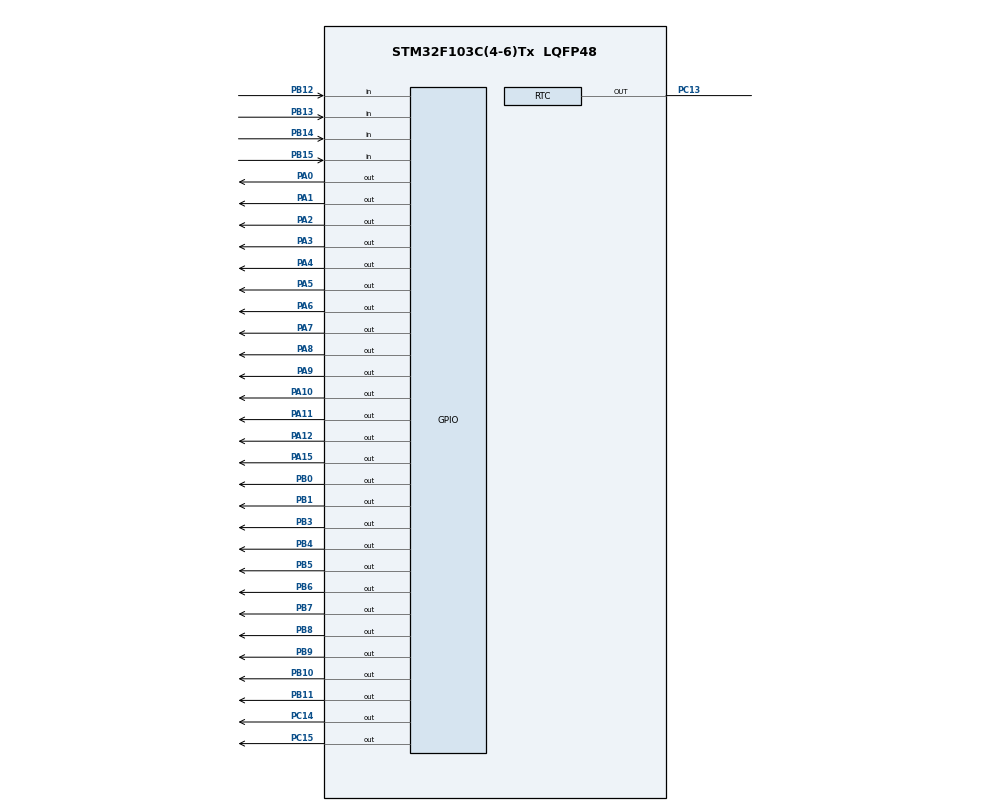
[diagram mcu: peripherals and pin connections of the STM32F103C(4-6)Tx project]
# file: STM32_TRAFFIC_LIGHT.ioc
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Mcu.Family=STM32F1
Mcu.Name=STM32F103C(4-6)Tx
Mcu.Package=LQFP48
NVIC.PriorityGroup=NVIC_PRIORITYGROUP_4
NVIC.TIM2_IRQn=true\:0\:0\:false\:false\:true\:true\:true\:true
PA0-WKUP.Signal=GPIO_Output
PA1.Signal=GPIO_Output
PA10.Signal=GPIO_Output
PA11.Signal=GPIO_Output
PA12.Signal=GPIO_Output
PA13.Mode=Serial_Wire
PA13.Signal=SYS_JTMS-SWDIO
PA14.Mode=Serial_Wire
PA14.Signal=SYS_JTCK-SWCLK
PA15.Signal=GPIO_Output
PA2.Signal=GPIO_Output
PA3.Signal=GPIO_Output
PA4.Signal=GPIO_Output
PA5.Signal=GPIO_Output
PA6.Signal=GPIO_Output
PA7.Signal=GPIO_Output
PA8.Signal=GPIO_Output
PA9.Signal=GPIO_Output
PB0.Signal=GPIO_Output
PB1.Signal=GPIO_Output
PB10.Signal=GPIO_Output
PB11.Signal=GPIO_Output
PB12.Signal=GPIO_Input
PB13.Signal=GPIO_Input
PB14.Signal=GPIO_Input
PB15.Signal=GPIO_Input
PB3.Signal=GPIO_Output
PB4.Signal=GPIO_Output
PB5.Signal=GPIO_Output
PB6.Signal=GPIO_Output
PB7.Signal=GPIO_Output
PB8.Signal=GPIO_Output
PB9.Signal=GPIO_Output
PC13-TAMPER-RTC.Mode=RTC OUT
PC13-TAMPER-RTC.Signal=RTC_OUT
PC14-OSC32_IN.Signal=GPIO_Output
PC15-OSC32_OUT.Signal=GPIO_Output
PD0-OSC_IN.Mode=HSE-External-Oscillator
PD0-OSC_IN.Signal=RCC_OSC_IN
PD1-OSC_OUT.Mode=HSE-External-Oscillator
PD1-OSC_OUT.Signal=RCC_OSC_OUT
ProjectManager.HeapSize=0x200
ProjectManager.StackSize=0x400
ProjectManager.TargetToolchain=STM32CubeIDE
RCC.APB1Freq_Value=8000000
RCC.APB2Freq_Value=8000000
RTC.Date=27
RTC.Hours=16
RTC.Hours_A-RTC\ OUT=16
RTC.Minutes=8
RTC.Minutes_A-RTC\ OUT=9
RTC.Month=RTC_MONTH_OCTOBER
RTC.Seconds=30
RTC.WeekDay=RTC_WEEKDAY_FRIDAY
RTC.Year=23
TIM2.Period=9
TIM2.Prescaler=7999
VP_RTC_VS_RTC_Activate.Mode=RTC_Enabled
VP_TIM2_VS_ClockSourceINT.Mode=Internal
board=custom

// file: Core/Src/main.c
/* USER CODE BEGIN Header */
/**
  ******************************************************************************
  * @file           : main.c
  * @brief          : Main program body
  ******************************************************************************
  * @attention
  *
  * Copyright (c) 2023 STMicroelectronics.
  * All rights reserved.
  *
  * This software is licensed under terms that can be found in the LICENSE file
  * in the root directory of this software component.
  * If no LICENSE file comes with this software, it is provided AS-IS.
  *
  ******************************************************************************
  */
/* USER CODE END Header */
#include "main.h"
#include "stdio.h"
#include "user_timer.h"
#include "user_lcd.h"
/* USER CODE BEGIN Includes */
int tt,tt1;
int second=0;
int k;
/* USER CODE END Includes */

/////////////RTC/////////////
RTC_HandleTypeDef hrtc;
char lcd_data_1[100];
char lcd_data_2[100];
///////////////////////////
TIM_HandleTypeDef htim2;

void SystemClock_Config(void);
static void MX_GPIO_Init(void);
static void MX_TIM2_Init(void);
static void MX_RTC_Init(void);
/* USER CODE BEGIN PFP */
////////////////LCD////////////////////
#define L0 0x80
#define L1 0xC0
#define L2 0x94
#define L3 0xD4
//////////////////////////////////////
unsigned char key_press(void);
unsigned char check_clm(unsigned char pin_var);
void LCD_init(void);
void LCD(uint8_t val_1, uint8_t cmd);
void LCD_str(unsigned char *str1);
void Disp_pass_key(unsigned char key_var);
/* USER CODE END PFP */
////////////////////LED7DOAN/////////////////////////////
#define	GPIO_DS_1 	    GPIOA
#define	PIN_DS_1 	    GPIO_PIN_12
#define	GPIO_SHCP_1 	GPIOA
#define	PIN_SHCP_1 	    GPIO_PIN_11
#define	GPIO_STCP_1 	GPIOA
#define	PIN_STCP_1 	    GPIO_PIN_15
#define __Get_Bit_1(__Value_, __bitN_) ((__Value_>>__bitN_) & 1)
/////////////////////LED7DOAN///////////////////////////////////
void Display_7SegLed_1(uint32_t Value_Display, uint8_t NumLed);
unsigned char var1;
int led_lr=0;
int button_lr;
int pre_lr=0;
////////////////////////////////////////////////////////
void LCD_START(){
    if(tt==6||tt1==6){
    	LCD(L1,0);
    	LCD_str("STATUS: WARNING");
    }else{
    	LCD(L1,0);
    	LCD_str("STATUS: AUTO");
    }
	   LCD(L2,0);
	   LCD_str("Enter password:");
}

///////////////////////CHECK KEYPAD///////////////
void check_key(){
	var1 = key_press();
	Disp_pass_key(var1);
	HAL_Delay(200);
}
///////////////////////RTC_REALTIME/////////////////////
void real_time(){
	RTC_TimeTypeDef sTime = {0};
	HAL_RTC_GetTime(&hrtc, &sTime, RTC_FORMAT_BIN);
    RTC_DateTypeDef DateToUpdate = {0};
	HAL_RTC_GetDate(&hrtc, &DateToUpdate, RTC_FORMAT_BIN);
	if(k==1){
    sprintf(lcd_data_1,"TIME: %02d:%02d:%02d",sTime.Hours,sTime.Minutes,sTime.Seconds);
    LCD(L1,0);
    LCD_str(lcd_data_1);

    sprintf(lcd_data_2,"DATE: %02d/%02d/%04d",DateToUpdate.Date,DateToUpdate.Month,2000+DateToUpdate.Year);
	LCD(L0,0);
	LCD_str(lcd_data_2);
	}
    if(k==0){
    	if(sTime.Hours>=22||sTime.Hours<=4){
    		tt=6;
    		tt1=6;
    		second=-1;
        }
    }
}
void real_date(){
    RTC_DateTypeDef DateToUpdate = {0};
	HAL_RTC_GetDate(&hrtc, &DateToUpdate, RTC_FORMAT_BIN);
    sprintf(lcd_data_2,"DATE: %02d/%02d/%04d",DateToUpdate.Date,DateToUpdate.Month,2000+DateToUpdate.Year);
	LCD(L0,0);
	LCD_str(lcd_data_2);
}
/* USER CODE BEGIN 0 */
void auto_light_lr(){
	   /////////////button red.//////////////
	  if(k==1){
	     button_lr = HAL_GPIO_ReadPin(GPIOB,GPIO_PIN_12); ///red
	    if(button_lr==1&&pre_lr==0){
	      if(led_lr==0){
	         tt=4;
	         tt1=5;
	         second=1;
	      }
	    }
        button_lr = HAL_GPIO_ReadPin(GPIOB,GPIO_PIN_13);///green
             if(button_lr==1&&pre_lr==0){
               if(led_lr==0){
                  tt=0;
                  tt1=0;
                  second=1;
               }
             }
        	  //////////////////////WARNING////////
        button_lr = HAL_GPIO_ReadPin(GPIOA,GPIO_PIN_14); ///red
        	 	    if(button_lr==1&&pre_lr==0){
        	 	      if(led_lr==0){
        	 	         tt=0;
        	 	         tt1=0;
        	 	         second=1;
        	 	      }
        	 	    }
           pre_lr=button_lr;
	  }

   switch(tt){
   case 0: //TT start
	tt=1;
   set_timer1(500);
   break;
   case 1: //red
      HAL_GPIO_WritePin(GPIOA, GPIO_PIN_13,1);   //RED
      HAL_GPIO_WritePin(GPIOC, GPIO_PIN_14,0);   //YELLOW
      HAL_GPIO_WritePin(GPIOC, GPIO_PIN_15,0);  //GREEN

      //het time led red
      if(timer1_flag==1){
             tt=2;
          set_timer1(300);
      }
       ///button green
   break;
   case 2: //green
      HAL_GPIO_WritePin(GPIOA, GPIO_PIN_13,0);   //RED
      HAL_GPIO_WritePin(GPIOC, GPIO_PIN_14,0);   //YELLOW
      HAL_GPIO_WritePin(GPIOC, GPIO_PIN_15,1);  //GREEN

      //het time led green
      if(timer1_flag==1){
            tt=3;
            set_timer1(200);
      }
     break;
   case 3: //yellow
      HAL_GPIO_WritePin(GPIOA, GPIO_PIN_13,0);   //RED
      HAL_GPIO_WritePin(GPIOC, GPIO_PIN_14,1);   //YELLOW
      HAL_GPIO_WritePin(GPIOC, GPIO_PIN_15,0);  //GREEN

         //het time led yellow
         if(timer1_flag==1){
            tt=1;
            set_timer1(500);
         }
   break;
    ///////////control////////////
    case 4: //control red
       HAL_GPIO_WritePin(GPIOA, GPIO_PIN_13,1);   //RED
       HAL_GPIO_WritePin(GPIOC, GPIO_PIN_14,0);   //YELLOW
       HAL_GPIO_WritePin(GPIOC, GPIO_PIN_15,0);  //GREEN
   break;
    case 5: //control green
       HAL_GPIO_WritePin(GPIOA, GPIO_PIN_13,0);   //RED
       HAL_GPIO_WritePin(GPIOC, GPIO_PIN_14,0);   //YELLOW
       HAL_GPIO_WritePin(GPIOC, GPIO_PIN_15,1);  //GREEN
   break;
    case 6:
    	  HAL_GPIO_TogglePin(GPIOC, GPIO_PIN_14);   //YELLOW
    break;
   default:
   break;
   }
}

void auto_light_ud(){

           /////////////button red.//////////////
   if(k==1){
          button_lr = HAL_GPIO_ReadPin(GPIOB,GPIO_PIN_14);
           if(button_lr==1&&pre_lr==0){
             if(led_lr==0){
                tt=5;
                tt1=4;
                second=0;
             }
           }

   ///////////////////button green//////////////////
          button_lr = HAL_GPIO_ReadPin(GPIOB,GPIO_PIN_15);
                 if(button_lr==1&&pre_lr==0){
                   if(led_lr==0){
                      tt1=0;
                      tt=0;

                   }
                 }
                 pre_lr=button_lr;
         }

   switch(tt1){
   case 0: //TT start
   tt1=2;
   set_timer2(300);
   break;
   case 1: //red
      HAL_GPIO_WritePin(GPIOB, GPIO_PIN_9,1);     //RED
      HAL_GPIO_WritePin(GPIOB, GPIO_PIN_10,0);   //YELLOW
      HAL_GPIO_WritePin(GPIOB, GPIO_PIN_11,0);  //GREEN

      //het time led red
      if(timer2_flag==1){
             tt1=2;
            set_timer2(300);
            }
   break;
   case 2: //green
      HAL_GPIO_WritePin(GPIOB, GPIO_PIN_9,0);     //RED
      HAL_GPIO_WritePin(GPIOB, GPIO_PIN_10,0);   //YELLOW
      HAL_GPIO_WritePin(GPIOB, GPIO_PIN_11,1);  //GREEN

      //het time led green
      if(timer2_flag==1){
            tt1=3;
            set_timer2(200);
      }

     break;
   case 3: //yellow
         HAL_GPIO_WritePin(GPIOB, GPIO_PIN_9,0);   //RED
         HAL_GPIO_WritePin(GPIOB, GPIO_PIN_10,1);   //YELLOW
         HAL_GPIO_WritePin(GPIOB, GPIO_PIN_11,0);  //GREEN
         //het time led yellow
         if(timer2_flag==1){
            tt1=1;
            set_timer2(500);
         }
      break;
      ////////////control//////////
     case 4: //control red
          HAL_GPIO_WritePin(GPIOB, GPIO_PIN_9,1);   //RED
          HAL_GPIO_WritePin(GPIOB, GPIO_PIN_10,0);   //YELLOW
          HAL_GPIO_WritePin(GPIOB, GPIO_PIN_11,0);  //GREEN
      break;
       case 5: //control GREEN
           HAL_GPIO_WritePin(GPIOB, GPIO_PIN_9,0);   //RED
          HAL_GPIO_WritePin(GPIOB, GPIO_PIN_10,0);   //YELLOW
          HAL_GPIO_WritePin(GPIOB, GPIO_PIN_11,1);  //GREEN
      break;
       case 6:
          HAL_GPIO_TogglePin(GPIOB, GPIO_PIN_10);   //YELLOW
      break;
    default:
    break;
   }
}
void clock(){
   if(timer3_flag==1){
       second++;
       set_timer3(100);
      if(second>5){
         second=1;
      }
   }
   Display_7SegLed_1(second,1);
}
/* USER CODE END 0 */

int main(void)
{
  /* USER CODE BEGIN 1 */
	   k=0;
  /* USER CODE END 1 */

  /* MCU Configuration--------------------------------------------------------*/

  /* Reset of all peripherals, Initializes the Flash interface and the Systick. */
  HAL_Init();

  /* Configure the system clock */
  SystemClock_Config();

  /* Initialize all configured peripherals */
  MX_GPIO_Init();
  HAL_GPIO_WritePin(GPIOB, GPIO_PIN_0|GPIO_PIN_1|GPIO_PIN_3|GPIO_PIN_4, GPIO_PIN_SET);
  HAL_GPIO_WritePin(GPIOB, GPIO_PIN_5|GPIO_PIN_6|GPIO_PIN_7|GPIO_PIN_8, GPIO_PIN_RESET);
  ////////////////TIMER////////////////////////
   MX_TIM2_Init();
   HAL_TIM_Base_Start_IT(&htim2); // Start timer ở CHE DO NGAT
   MX_RTC_Init();
  /* USER CODE BEGIN 2 */
  /* USER CODE LCD BEGIN///*/
   LCD_init();
   real_date();
   LCD_START();
   //////////////////////////////////////////
   set_timer1(3);
   set_timer2(2);
   set_timer3(1);
   Display_7SegLed_1(0,1);
   //////////////////////////////////////////
  /* Infinite loop */
  while (1)
  {
            clock();
	 	  	auto_light_lr();
	 	    auto_light_ud();
	        check_key();
	        real_time();
  }
}

void SystemClock_Config(void)
{
  RCC_OscInitTypeDef RCC_OscInitStruct = {0};
  RCC_ClkInitTypeDef RCC_ClkInitStruct = {0};
  RCC_PeriphCLKInitTypeDef PeriphClkInit = {0};

  /** Initializes the RCC Oscillators according to the specified parameters
  * in the RCC_OscInitTypeDef structure.
  */
  RCC_OscInitStruct.OscillatorType = RCC_OSCILLATORTYPE_HSI|RCC_OSCILLATORTYPE_LSI;
  RCC_OscInitStruct.HSIState = RCC_HSI_ON;
  RCC_OscInitStruct.HSICalibrationValue = RCC_HSICALIBRATION_DEFAULT;
  RCC_OscInitStruct.LSIState = RCC_LSI_ON;
  RCC_OscInitStruct.PLL.PLLState = RCC_PLL_NONE;
  if (HAL_RCC_OscConfig(&RCC_OscInitStruct) != HAL_OK)
  {
    Error_Handler();
  }

  /** Initializes the CPU, AHB and APB buses clocks
  */
  RCC_ClkInitStruct.ClockType = RCC_CLOCKTYPE_HCLK|RCC_CLOCKTYPE_SYSCLK
                              |RCC_CLOCKTYPE_PCLK1|RCC_CLOCKTYPE_PCLK2;
  RCC_ClkInitStruct.SYSCLKSource = RCC_SYSCLKSOURCE_HSI;
  RCC_ClkInitStruct.AHBCLKDivider = RCC_SYSCLK_DIV1;
  RCC_ClkInitStruct.APB1CLKDivider = RCC_HCLK_DIV1;
  RCC_ClkInitStruct.APB2CLKDivider = RCC_HCLK_DIV1;

  if (HAL_RCC_ClockConfig(&RCC_ClkInitStruct, FLASH_LATENCY_0) != HAL_OK)
  {
    Error_Handler();
  }
  PeriphClkInit.PeriphClockSelection = RCC_PERIPHCLK_RTC;
  PeriphClkInit.RTCClockSelection = RCC_RTCCLKSOURCE_LSI;
  if (HAL_RCCEx_PeriphCLKConfig(&PeriphClkInit) != HAL_OK)
  {
    Error_Handler();
  }
}

static void MX_RTC_Init(void)
{

  RTC_TimeTypeDef sTime = {0};
  RTC_DateTypeDef DateToUpdate = {0};
  RTC_AlarmTypeDef sAlarm = {0};

  /** Initialize RTC Only
  */
  hrtc.Instance = RTC;
  hrtc.Init.AsynchPrediv = RTC_AUTO_1_SECOND;
  hrtc.Init.OutPut = RTC_OUTPUTSOURCE_ALARM;
  if (HAL_RTC_Init(&hrtc) != HAL_OK)
  {
    Error_Handler();
  }

  /** Initialize RTC and set the Time and Date
  */
  sTime.Hours = 0x12;
  sTime.Minutes = 0x00;
  sTime.Seconds = 0x00;

  if (HAL_RTC_SetTime(&hrtc, &sTime, RTC_FORMAT_BCD) != HAL_OK)
  {
    Error_Handler();
  }

  DateToUpdate.WeekDay = RTC_WEEKDAY_FRIDAY;
  DateToUpdate.Month =0x10;
  DateToUpdate.Date = 0x29;
  DateToUpdate.Year = 0x23;

  if (HAL_RTC_SetDate(&hrtc, &DateToUpdate, RTC_FORMAT_BCD) != HAL_OK)
  {
    Error_Handler();
  }

  /** Enable the Alarm A*/
  sAlarm.AlarmTime.Hours = 0x15;
  sAlarm.AlarmTime.Minutes = 0x23;
  sAlarm.AlarmTime.Seconds = 0x01;
  sAlarm.Alarm = RTC_ALARM_A;
  if (HAL_RTC_SetAlarm(&hrtc, &sAlarm, RTC_FORMAT_BCD) != HAL_OK)
  {
    Error_Handler();
  }

}

static void MX_TIM2_Init(void)
{

  TIM_ClockConfigTypeDef sClockSourceConfig = {0};
  TIM_MasterConfigTypeDef sMasterConfig = {0};

  htim2.Instance = TIM2;
  htim2.Init.Prescaler = 7999;
  htim2.Init.CounterMode = TIM_COUNTERMODE_UP;
  htim2.Init.Period = 9;
  htim2.Init.ClockDivision = TIM_CLOCKDIVISION_DIV1;
  htim2.Init.AutoReloadPreload = TIM_AUTORELOAD_PRELOAD_DISABLE;
  if (HAL_TIM_Base_Init(&htim2) != HAL_OK)
  {
    Error_Handler();
  }
  sClockSourceConfig.ClockSource = TIM_CLOCKSOURCE_INTERNAL;
  if (HAL_TIM_ConfigClockSource(&htim2, &sClockSourceConfig) != HAL_OK)
  {
    Error_Handler();
  }
  sMasterConfig.MasterOutputTrigger = TIM_TRGO_RESET;
  sMasterConfig.MasterSlaveMode = TIM_MASTERSLAVEMODE_DISABLE;
  if (HAL_TIMEx_MasterConfigSynchronization(&htim2, &sMasterConfig) != HAL_OK)
  {
    Error_Handler();
  }

}

static void MX_GPIO_Init(void)
{
  GPIO_InitTypeDef GPIO_InitStruct = {0};

  /* GPIO Ports Clock Enable */
  __HAL_RCC_GPIOC_CLK_ENABLE();
  __HAL_RCC_GPIOD_CLK_ENABLE();
  __HAL_RCC_GPIOA_CLK_ENABLE();
  __HAL_RCC_GPIOB_CLK_ENABLE();

  /*Configure GPIO pin Output Level */
  HAL_GPIO_WritePin(GPIOC, GPIO_PIN_14|GPIO_PIN_15, GPIO_PIN_RESET);

  /*Configure GPIO pin Output Level */
  HAL_GPIO_WritePin(GPIOA, GPIO_PIN_0|GPIO_PIN_1|GPIO_PIN_2|GPIO_PIN_3
                          |GPIO_PIN_4|GPIO_PIN_5|GPIO_PIN_6|GPIO_PIN_7
                          |GPIO_PIN_8|GPIO_PIN_9|GPIO_PIN_10|GPIO_PIN_11
                          |GPIO_PIN_12|GPIO_PIN_15, GPIO_PIN_RESET);

  /*Configure GPIO pin Output Level */
  HAL_GPIO_WritePin(GPIOB, GPIO_PIN_0|GPIO_PIN_1|GPIO_PIN_10|GPIO_PIN_11
                          |GPIO_PIN_3|GPIO_PIN_4|GPIO_PIN_5|GPIO_PIN_6
                          |GPIO_PIN_7|GPIO_PIN_8|GPIO_PIN_9, GPIO_PIN_RESET);

  /*Configure GPIO pins : PC14 PC15 */
  GPIO_InitStruct.Pin = GPIO_PIN_14|GPIO_PIN_15;
  GPIO_InitStruct.Mode = GPIO_MODE_OUTPUT_PP;
  GPIO_InitStruct.Pull = GPIO_NOPULL;
  GPIO_InitStruct.Speed = GPIO_SPEED_FREQ_LOW;
  HAL_GPIO_Init(GPIOC, &GPIO_InitStruct);

  /*Configure GPIO pins : PA0 PA1 PA2 PA3
                           PA4 PA5 PA6 PA7
                           PA8 PA9 PA10 PA11
                           PA12 PA15 */
  GPIO_InitStruct.Pin = GPIO_PIN_0|GPIO_PIN_1|GPIO_PIN_2|GPIO_PIN_3
                          |GPIO_PIN_4|GPIO_PIN_5|GPIO_PIN_6|GPIO_PIN_7
                          |GPIO_PIN_8|GPIO_PIN_9|GPIO_PIN_10|GPIO_PIN_11
                          |GPIO_PIN_12|GPIO_PIN_13|GPIO_PIN_15;
  GPIO_InitStruct.Mode = GPIO_MODE_OUTPUT_PP;
  GPIO_InitStruct.Pull = GPIO_NOPULL;
  GPIO_InitStruct.Speed = GPIO_SPEED_FREQ_LOW;
  HAL_GPIO_Init(GPIOA, &GPIO_InitStruct);

  /*Configure GPIO pins : PB0 PB1 PB10 PB11
                           PB3 PB4 PB5 PB6
                           PB7 PB8 PB9 */
  GPIO_InitStruct.Pin = GPIO_PIN_0|GPIO_PIN_1|GPIO_PIN_10|GPIO_PIN_11
                          |GPIO_PIN_3|GPIO_PIN_4|GPIO_PIN_5|GPIO_PIN_6
                          |GPIO_PIN_7|GPIO_PIN_8|GPIO_PIN_9;
  GPIO_InitStruct.Mode = GPIO_MODE_OUTPUT_PP;
  GPIO_InitStruct.Pull = GPIO_NOPULL;
  GPIO_InitStruct.Speed = GPIO_SPEED_FREQ_LOW;
  HAL_GPIO_Init(GPIOB, &GPIO_InitStruct);

  /*Configure GPIO pins : PB12 PB13 PB14 PB15 */
  GPIO_InitStruct.Pin = GPIO_PIN_12|GPIO_PIN_13|GPIO_PIN_14|GPIO_PIN_15;
  GPIO_InitStruct.Mode = GPIO_MODE_INPUT;
  GPIO_InitStruct.Pull = GPIO_NOPULL;
  HAL_GPIO_Init(GPIOB, &GPIO_InitStruct);

  GPIO_InitStruct.Pin = GPIO_PIN_14;
  GPIO_InitStruct.Mode = GPIO_MODE_INPUT;
  GPIO_InitStruct.Pull = GPIO_NOPULL;
  HAL_GPIO_Init(GPIOA, &GPIO_InitStruct);

}

/* USER CODE BEGIN 4 */
void HAL_TIM_PeriodElapsedCallback(TIM_HandleTypeDef *htim){
    timer_run();
 }

////////////////////////LED7DOAN///////////////////////////////////////////

void Display_7SegLed_1(uint32_t Value_Display, uint8_t NumLed) {
    const unsigned char ma7doan_CA[] = {0xC0, 0xF9, 0xA4, 0xB0, 0x99, 0x92, 0x82, 0xF8, 0x80, 0x90 };
   goto Label_Display_7SegLed;
   void ShiftOut(uint8_t Value_Shift) {
      for (int i = 7; i >= 0; i--) {
         HAL_GPIO_WritePin(GPIO_DS_1, PIN_DS_1, __Get_Bit_1(Value_Shift, i));
         __NOP();
         ///////////////////tao CLK////////////////////////////
         HAL_GPIO_WritePin(GPIO_SHCP_1, PIN_SHCP_1, GPIO_PIN_RESET);
         __NOP();
         HAL_GPIO_WritePin(GPIO_SHCP_1, PIN_SHCP_1, GPIO_PIN_SET);
         __NOP();
         HAL_GPIO_WritePin(GPIO_SHCP_1, PIN_SHCP_1, GPIO_PIN_RESET);
         __NOP();
      }
   }
   Label_Display_7SegLed: //start Display_7SegLed
   for (int i = 0; i < NumLed; i++) {
      ShiftOut(ma7doan_CA[Value_Display % 10]);
      Value_Display = Value_Display / 10;
   }
   ///////////////////////tao CLK//////////////////
   HAL_GPIO_WritePin(GPIO_STCP_1, PIN_STCP_1, GPIO_PIN_RESET);
   __NOP();
   HAL_GPIO_WritePin(GPIO_STCP_1, PIN_STCP_1, GPIO_PIN_SET);
   __NOP();
   HAL_GPIO_WritePin(GPIO_STCP_1, PIN_STCP_1, GPIO_PIN_RESET);
   __NOP();
}

/* USER CODE BEGIN 4 */
unsigned char key_press(void)
{
   unsigned char clm_var;
   unsigned char key_arr[] = {7, 8, 9, 15, 4, 5, 6, 14, 1, 2, 3, 13, 10, 0, 11, 12};

   if (HAL_GPIO_ReadPin(GPIOB, GPIO_PIN_0) == 0)
   {
      clm_var = check_clm(GPIO_PIN_0);
      return key_arr[clm_var-1];
   }
   else if (HAL_GPIO_ReadPin(GPIOB, GPIO_PIN_1) == 0)
   {
      clm_var = check_clm(GPIO_PIN_1);
      return key_arr[clm_var+3];
   }
   else if (HAL_GPIO_ReadPin(GPIOB, GPIO_PIN_3) == 0)
   {
      clm_var = check_clm(GPIO_PIN_3);
      return key_arr[clm_var+7];
   }
   else if (HAL_GPIO_ReadPin(GPIOB, GPIO_PIN_4) == 0)
   {
      clm_var = check_clm(GPIO_PIN_4);
      return key_arr[clm_var+11];
   }
   else
      return 16;
}

unsigned char check_clm(unsigned char pin_var)
{
   unsigned char clm;
   HAL_GPIO_WritePin(GPIOB, GPIO_PIN_5|GPIO_PIN_6|GPIO_PIN_7|GPIO_PIN_8, GPIO_PIN_SET);      //Set all columns to logic 1 ie connected to Vcc

   HAL_GPIO_WritePin(GPIOB, GPIO_PIN_5, GPIO_PIN_RESET);                  //set first column to Gnd
   if(HAL_GPIO_ReadPin(GPIOB, pin_var) == 0)
      clm = 1;

   HAL_GPIO_WritePin(GPIOB, GPIO_PIN_5, GPIO_PIN_SET);
   HAL_GPIO_WritePin(GPIOB, GPIO_PIN_6, GPIO_PIN_RESET);                  //set second column to Gnd
   if(HAL_GPIO_ReadPin(GPIOB, pin_var) == 0)
      clm = 2;

   HAL_GPIO_WritePin(GPIOB, GPIO_PIN_6, GPIO_PIN_SET);
   HAL_GPIO_WritePin(GPIOB, GPIO_PIN_7, GPIO_PIN_RESET);                  //set third column to Gnd
   if(HAL_GPIO_ReadPin(GPIOB, pin_var) == 0)
      clm = 3;

   HAL_GPIO_WritePin(GPIOB, GPIO_PIN_7, GPIO_PIN_SET);
   HAL_GPIO_WritePin(GPIOB, GPIO_PIN_8, GPIO_PIN_RESET);                  //set fourth column to Gnd
   if(HAL_GPIO_ReadPin(GPIOB, pin_var) == 0)
      clm = 4;

   HAL_GPIO_WritePin(GPIOB, GPIO_PIN_5|GPIO_PIN_6|GPIO_PIN_7|GPIO_PIN_8, GPIO_PIN_RESET);      //Set all columns to logic 0 ie connected to GND
   return clm;
}

void Disp_pass_key(unsigned char key_var)
{
   static unsigned char pass_var1 = 0;
   static unsigned char key_arr[5];
   unsigned char enter_key[5] = {"12345"};
   unsigned char i;

   if(key_var != 16)
   {
      key_arr[pass_var1] = key_var + 48;
      LCD(key_var + 48, 1);
      pass_var1++;
      if(pass_var1 == 5)
      {
         LCD(L3, 0);
         for(i=0;i<5;i++)
         {
            if(key_arr[i] != enter_key[i])
            {
               LCD(0x01, 0);
               LCD(L0+5,0);
               LCD_str("Re-enter pw");
               pass_var1 = 0;
               break;
            }
         }
         if(i == 5)
         {
     	   LCD(0x01, 0);
           LCD(L0+5,0);
           LCD_str("Welcome!!!!");
     	   HAL_GPIO_WritePin(GPIOA, GPIO_PIN_10, 1);
     	   k=1;
         }
         HAL_Delay(500);
         pass_var1 = 0;
         LCD(0x01, 0);
         real_time();
         real_date();
         LCD(L2, 0);
         LCD_str("STATUS: CONTROL");
         LCD(L3,0);
 		 LCD_str("Enter password:");
      }
   }
}
/* USER CODE END 4 */

void Error_Handler(void)
{
  __disable_irq();
  while (1)
  {
  }
}
